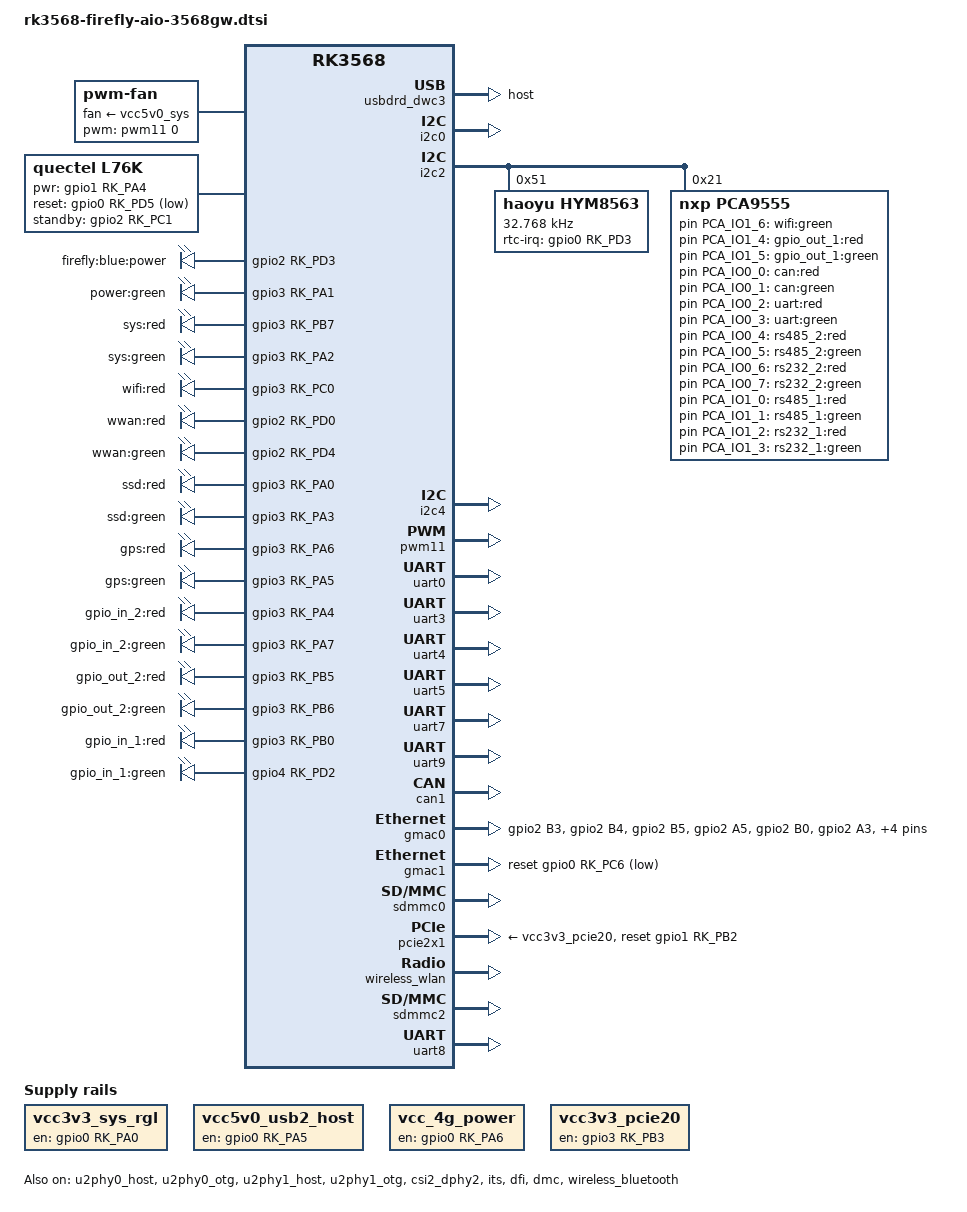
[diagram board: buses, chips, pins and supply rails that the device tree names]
// SPDX-License-Identifier: (GPL-2.0+ OR MIT)
/*
 * Copyright (c) 2020 Rockchip Electronics Co., Ltd.
 *
 */

#include "rk3568-firefly-port.dtsi"

/ {
	vcc3v3_sys_rgl: vcc3v3-sys-regulator {
		compatible = "regulator-fixed";
		enable-active-high;
		gpio = <&gpio0 RK_PA0 GPIO_ACTIVE_HIGH>;
		regulator-name = "vcc3v3_sys_rgl";
		regulator-always-on;
		pinctrl-names = "default";
		pinctrl-0 = <&vcc3v3_sys_rgl_en>;
	};

	vcc5v0_usb2_host: vcc5v0-usb2-host-regulator {
		compatible = "regulator-fixed";
		enable-active-high;
		gpio = <&gpio0 RK_PA5 GPIO_ACTIVE_HIGH>;
		regulator-name = "vcc5v0_usb2_host";
		regulator-always-on;
		pinctrl-names = "default";
		pinctrl-0 = <&vcc5v0_usb2_host_en>;
	};

	vcc_4g_power: vcc-4g-power-regulator {
		compatible = "regulator-fixed";
		enable-active-high;
		gpio = <&gpio0 RK_PA6 GPIO_ACTIVE_HIGH>;
		regulator-name = "vcc_4g_power";
		regulator-always-on;
		pinctrl-names = "default";
		pinctrl-0 = <&vcc_4g_power_en>;
	};

	// vcc5v0_ext: vcc5v0-ext-regulator {
	// 	compatible = "regulator-fixed";
	// 	enable-active-high;
	// 	gpio = <&gpio0 RK_PB5 GPIO_ACTIVE_HIGH>;
	// 	regulator-name = "vcc5v0_ext";
	// 	regulator-always-on;
	// 	pinctrl-names = "default";
	// 	pinctrl-0 = <&vcc5v0_ext_en>;
	// };

	vcc3v3_pcie20: vcc3v3-pcie20-regulator {
		compatible = "regulator-fixed";
		enable-active-high;
		gpio = <&gpio3 RK_PB3 GPIO_ACTIVE_HIGH>;
		regulator-name = "vcc3v3_pcie20";
		regulator-always-on;
		pinctrl-0 = <&vcc3v3_pcie20_en>;
	};

	fan: pwm-fan {
		compatible = "pwm-fan";
		#cooling-cells = <2>;
		fan-supply = <&vcc5v0_sys>;
		pwms = <&pwm11 0 50000 0>;
	};

	l76k: l76k {
		status = "okay";
		compatible = "quectel,l76k";
		pwr-gpio = <&gpio1 RK_PA4 GPIO_ACTIVE_HIGH>;  // GPS_PWR_EN
		reset-gpio = <&gpio0 RK_PD5 GPIO_ACTIVE_LOW>; // GPS_RESET
		standby-gpio = <&gpio2 RK_PC1 GPIO_ACTIVE_HIGH>; // GPS_STANDBY
	};

	firefly_leds: leds {
		status = "okay";
		compatible = "gpio-leds";

		power_led: power {
			label = "firefly:blue:power";
			linux,default-trigger = "ir-power-click";
			default-state = "on";
			gpios = <&gpio2 RK_PD3 GPIO_ACTIVE_HIGH>;
			pinctrl-names = "default";
			pinctrl-0 = <&led1_r_en>;
		};

		// POWER
		// LED1_R {
		// 	default-state = "off";
		// 	gpios = <&gpio2 RK_PD3 GPIO_ACTIVE_HIGH>;
		// 	pinctrl-names = "default";
		// 	pinctrl-0 = <&led1_r_en>;
		// 	label = "power:red";
		// };

		LED1_G {
			default-state = "off";
			gpios = <&gpio3 RK_PA1 GPIO_ACTIVE_HIGH>;
			pinctrl-names = "default";
			pinctrl-0 = <&led1_g_en>;
			label = "power:green";
		};

		// SYS
		LED2_R {
			default-state = "off";
			gpios = <&gpio3 RK_PB7 GPIO_ACTIVE_HIGH>;
			pinctrl-names = "default";
			pinctrl-0 = <&led2_r_en>;
			label = "sys:red";
		};

		LED2_G {
			default-state = "off";
			gpios = <&gpio3 RK_PA2 GPIO_ACTIVE_HIGH>;
			pinctrl-names = "default";
			pinctrl-0 = <&led2_g_en>;
			label = "sys:green";
		};

		// WIFI
		LED3_R {
			default-state = "off";
			gpios = <&gpio3 RK_PC0 GPIO_ACTIVE_HIGH>;
			pinctrl-names = "default";
			pinctrl-0 = <&led3_r_en>;
			linux,default-trigger = "netdev";
			label = "wifi:red";
		};

		LED3_G {
			default-state = "off";
			gpios = <&pca9555 PCA_IO1_6 GPIO_ACTIVE_HIGH>;
			linux,default-trigger = "netdev";
			label = "wifi:green";
		};

		// 4G/5G
		LED4_R {
			default-state = "off";
			gpios = <&gpio2 RK_PD0 GPIO_ACTIVE_HIGH>;
			pinctrl-names = "default";
			pinctrl-0 = <&led4_r_en>;
			linux,default-trigger = "netdev";
			label = "wwan:red";
		};

		LED4_G {
			default-state = "off";
			gpios = <&gpio2 RK_PD4 GPIO_ACTIVE_HIGH>;
			pinctrl-names = "default";
			pinctrl-0 = <&led4_g_en>;
			linux,default-trigger = "netdev";
			label = "wwan:green";
		};

		// SSD
		LED5_R {
			default-state = "off";
			gpios = <&gpio3 RK_PA0 GPIO_ACTIVE_HIGH>;
			pinctrl-names = "default";
			pinctrl-0 = <&led5_r_en>;
			// linux,default-trigger = "tty";
			label = "ssd:red";
		};

		LED5_G {
			default-state = "off";
			gpios = <&gpio3 RK_PA3 GPIO_ACTIVE_HIGH>;
			pinctrl-names = "default";
			pinctrl-0 = <&led5_g_en>;
			// linux,default-trigger = "tty";
			label = "ssd:green";
		};

		// GPS
		LED6_R {
			default-state = "off";
			gpios = <&gpio3 RK_PA6 GPIO_ACTIVE_HIGH>;
			pinctrl-names = "default";
			pinctrl-0 = <&led6_r_en>;
			// linux,default-trigger = "netdev";
			label = "gps:red";
		};

		LED6_G {
			default-state = "off";
			gpios = <&gpio3 RK_PA5 GPIO_ACTIVE_HIGH>;
			pinctrl-names = "default";
			pinctrl-0 = <&led6_g_en>;
			// linux,default-trigger = "netdev";
			label = "gps:green";
		};

		// DIN2
		LED7_R {
			default-state = "off";
			gpios = <&gpio3 RK_PA4 GPIO_ACTIVE_HIGH>;
			pinctrl-names = "default";
			pinctrl-0 = <&led7_r_en>;
			linux,default-trigger = "gpio";
			label = "gpio_in_2:red";
		};

		LED7_G {
			default-state = "off";
			gpios = <&gpio3 RK_PA7 GPIO_ACTIVE_HIGH>;
			pinctrl-names = "default";
			pinctrl-0 = <&led7_g_en>;
			linux,default-trigger = "gpio";
			label = "gpio_in_2:green";
		};

		// DOUT2
		LED8_R {
			default-state = "off";
			gpios = <&gpio3 RK_PB5 GPIO_ACTIVE_HIGH>;
			pinctrl-names = "default";
			pinctrl-0 = <&led8_r_en>;
			linux,default-trigger = "gpio";
			label = "gpio_out_2:red";
		};

		LED8_G {
			default-state = "off";
			gpios = <&gpio3 RK_PB6 GPIO_ACTIVE_HIGH>;
			pinctrl-names = "default";
			pinctrl-0 = <&led8_g_en>;
			linux,default-trigger = "gpio";
			label = "gpio_out_2:green";
		};

		// DIN1
		LED9_R {
			default-state = "off";
			gpios = <&gpio3 RK_PB0 GPIO_ACTIVE_HIGH>;
			pinctrl-names = "default";
			pinctrl-0 = <&led9_r_en>;
			linux,default-trigger = "gpio";
			label = "gpio_in_1:red";
		};

		LED9_G {
			default-state = "off";
			gpios = <&gpio4 RK_PD2 GPIO_ACTIVE_HIGH>;
			pinctrl-names = "default";
			pinctrl-0 = <&led9_g_en>;
			linux,default-trigger = "gpio";
			label = "gpio_in_1:green";
		};

		// DOUT1
		LED10_R {
			default-state = "off";
			gpios = <&pca9555 PCA_IO1_4 GPIO_ACTIVE_HIGH>;
			linux,default-trigger = "gpio";
			label = "gpio_out_1:red";
		};

		LED10_G {
			default-state = "off";
			gpios = <&pca9555 PCA_IO1_5 GPIO_ACTIVE_HIGH>;
			linux,default-trigger = "gpio";
			label = "gpio_out_1:green";
		};

		// CAN
		LED11_R {
			default-state = "off";
			gpios = <&pca9555 PCA_IO0_0 GPIO_ACTIVE_HIGH>;
			linux,default-trigger = "netdev";
			label = "can:red";
		};

		LED11_G {
			default-state = "off";
			gpios = <&pca9555 PCA_IO0_1 GPIO_ACTIVE_HIGH>;
			linux,default-trigger = "netdev";
			label = "can:green";
		};

		// UART
		LED12_R {
			default-state = "off";
			gpios = <&pca9555 PCA_IO0_2 GPIO_ACTIVE_HIGH>;
			linux,default-trigger = "tty";
			label = "uart:red";
		};

		LED12_G {
			default-state = "off";
			gpios = <&pca9555 PCA_IO0_3 GPIO_ACTIVE_HIGH>;
			linux,default-trigger = "tty";
			label = "uart:green";
		};

		// RS485_2
		LED13_R {
			default-state = "off";
			gpios = <&pca9555 PCA_IO0_4 GPIO_ACTIVE_HIGH>;
			linux,default-trigger = "tty";
			label = "rs485_2:red";
		};

		LED13_G {
			default-state = "off";
			gpios = <&pca9555 PCA_IO0_5 GPIO_ACTIVE_HIGH>;
			linux,default-trigger = "tty";
			label = "rs485_2:green";
		};

		// RS232_2
		LED14_R {
			default-state = "off";
			gpios = <&pca9555 PCA_IO0_6 GPIO_ACTIVE_HIGH>;
			linux,default-trigger = "tty";
			label = "rs232_2:red";
		};

		LED14_G {
			default-state = "off";
			gpios = <&pca9555 PCA_IO0_7 GPIO_ACTIVE_HIGH>;
			linux,default-trigger = "tty";
			label = "rs232_2:green";
		};

		// RS485_1
		LED15_R {
			default-state = "off";
			gpios = <&pca9555 PCA_IO1_0 GPIO_ACTIVE_HIGH>;
			linux,default-trigger = "tty";
			label = "rs485_1:red";
		};

		LED15_G {
			default-state = "off";
			gpios = <&pca9555 PCA_IO1_1 GPIO_ACTIVE_HIGH>;
			linux,default-trigger = "tty";
			label = "rs485_1:green";
		};

		// RS232_1
		LED16_R {
			default-state = "off";
			gpios = <&pca9555 PCA_IO1_2 GPIO_ACTIVE_HIGH>;
			linux,default-trigger = "tty";
			label = "rs232_1:red";
		};

		LED16_G {
			default-state = "off";
			gpios = <&pca9555 PCA_IO1_3 GPIO_ACTIVE_HIGH>;
			linux,default-trigger = "tty";
			label = "rs232_1:green";
		};
	};
};

&vcc5v0_host {
	status = "disabled";
};

&vcc5v0_otg {
	gpio = <&gpio0 RK_PB6 GPIO_ACTIVE_HIGH>;
	status = "okay";
};

&vcc5v0_otg_en {
	rockchip,pins = <0 RK_PB6 RK_FUNC_GPIO &pcfg_pull_none>;
};

&u2phy0_host {
	phy-supply = <&vcc_4g_power>;
	status = "okay";
};

&u2phy0_otg {
	vbus-supply = <&vcc5v0_otg>;
	status = "okay";
};

&u2phy1_host {
	phy-supply = <&vcc5v0_usb2_host>;
	status = "okay";
};

&u2phy1_otg {
	phy-supply = <&vcc5v0_usb2_host>;
	status = "okay";
};

&usb_host1_ehci {
	status = "disabled";
};

&usb_host1_ohci {
	status = "disabled";
};

&usbdrd_dwc3 {
	dr_mode = "host";
};

&csi2_dphy0 {
	status = "disabled";
};

&csi2_dphy1 {
	status = "disabled";
	/*
	* dphy1 only used for split mode,
	* can be used  concurrently  with dphy2
	* full mode and split mode are mutually exclusive
	*/
};

&csi2_dphy2 {
	status = "okay";
	/*
	* dphy2 only used for split mode,
	* can be used  concurrently  with dphy1
	* full mode and split mode are mutually exclusive
	*/
};

&rkisp_vir0 {
	status = "disabled";
};

&rkisp_vir1 {
	status = "disabled";
};

&i2c0 {
	status = "okay";
};

&i2c1 {
	status = "disabled";
	/delete-node/ gpio@21;
};

&i2c2 {
	status = "okay";
	pinctrl-names = "default";
	pinctrl-0 = <&i2c2m1_xfer>;

	hym8563: hym8563@51 {
		status = "okay";
		compatible = "haoyu,hym8563";
		reg = <0x51>;
		#clock-cells = <0>;
		rtc-irq-gpio = <&gpio0 RK_PD3 IRQ_TYPE_EDGE_FALLING>;
		clock-frequency = <32768>;
		clock-output-names = "xin32k";
		wakeup-source;
	};

	pca9555: gpio@21 {
		status = "okay";
		compatible = "nxp,pca9555";
		reg = <0x21>;
		gpio-controller;
		#gpio-cells = <2>;
		gpio-group-num = <200>;
	};
};

&i2c4 {
	status = "okay";
	pinctrl-names = "default";
	pinctrl-0 = <&i2c4m0_xfer>;
};

&i2c5 {
	status = "disabled";
	/delete-node/ hym8563@51;
	/delete-node/ mxc6655xa@15;
};

&vcc_camera {
	status = "disabled";
};

&pwm4 {
	status = "disabled";
};

&pwm5 {
	status = "disabled";
};

&pwm11 {
	pinctrl-names = "active";
	pinctrl-0 = <&pwm11m1_pins>;
	status = "okay";
};

&pwm14 {
	status = "disabled";
};

&mc3230 {
    status = "disabled";
};

&uart0 { // rs232_1
	status = "okay";
};

&uart3 { // rs232_2
	pinctrl-names = "default";
	pinctrl-0 = <&uart3m0_xfer>;
	status = "okay";
};

&uart4 { // rs485_1
	pinctrl-names = "default";
	pinctrl-0 = <&uart4m1_xfer>;
    rs485-de-gpios = <&gpio3 RK_PC1 GPIO_ACTIVE_LOW>;
    linux,rs485-enabled-at-boot-time;
    status = "okay";
};

&uart5 { // rs485_2
	pinctrl-names = "default";
	pinctrl-0 = <&uart5m1_xfer>;
    rs485-de-gpios = <&gpio2 RK_PD6 GPIO_ACTIVE_LOW>;
    linux,rs485-enabled-at-boot-time;
	status = "okay";
};

&uart7 { // gps
	pinctrl-names = "default";
	pinctrl-0 = <&uart7m1_xfer>;
	status = "okay";
};

&uart9 {
	pinctrl-names = "default";
	pinctrl-0 = <&uart9m1_xfer>;
	status = "okay";
};

&spi0 {
	status = "disabled";
};

&spi1 {
	status = "disabled";
};

&spi_wk2xxx {
	status = "disabled";
};

&pcie30_3v3 {
	status = "disabled";
};

&pcie30phy {
	status = "disabled";
};

&pcie3x2 {
	status = "disabled";
};

&its {
    status = "okay";
};

&can1 {
	compatible = "rockchip,rk3568-can-2.0";
	pinctrl-names = "default";
	pinctrl-0 = <&can1m1_pins>;
	status = "okay";
};

/delete-node/ &vcc3v3_vga;

&gmac0 {
	status = "okay";
	tx_delay = <0x41>;
	rx_delay = <0x31>;
	snps,reset-gpio = <&gpio0 RK_PB7 GPIO_ACTIVE_LOW>;

	clock_in_out = "output";
	assigned-clocks = <&cru SCLK_GMAC0_RX_TX>, <&cru SCLK_GMAC0>;
	assigned-clock-rates = <0>, <125000000>;
	assigned-clock-parents = <&cru SCLK_GMAC0_RGMII_SPEED>;

	pinctrl-names = "default";
	pinctrl-0 = <&gmac0_miim
		     &gmac0_tx_bus2
		     &gmac0_rx_bus2
		     &gmac0_rgmii_clk
		     &gmac0_rgmii_bus>;
};

&gmac1 {
	status = "okay";
	tx_delay = <0x4d>;
	rx_delay = <0x2c>;
	snps,reset-gpio = <&gpio0 RK_PC6 GPIO_ACTIVE_LOW>;

	clock_in_out = "output";
	assigned-clocks = <&cru SCLK_GMAC1_RX_TX>, <&cru SCLK_GMAC1>;
	assigned-clock-rates = <0>, <125000000>;
	assigned-clock-parents = <&cru SCLK_GMAC1_RGMII_SPEED>;

	pinctrl-names = "default";
	pinctrl-0 = <&gmac1m1_miim
		     &gmac1m1_tx_bus2
		     &gmac1m1_rx_bus2
		     &gmac1m1_rgmii_clk
		     &gmac1m1_rgmii_bus>;
};

&rgmii_phy0 {
	led_status_value = <0x6940>;
};

&rgmii_phy1 {
	led_status_value = <0x6940>;
};

&sdmmc0 {
	status = "okay";
};

&spdif_8ch {
	status = "disabled";
};

&spdif_out {
	status = "disabled";
};

&rk809_sound {
	status = "disabled";
};

&rk809_codec {
	status = "disabled";
};

&rk809 {
    rtc {
        status = "disabled";
    };
};

&pwm7 {
	status = "disabled";
};

&sata2 {
	status = "disabled";
	/delete-property/ pinctrl-0;
};

&pcie2x1 {
	reset-gpios = <&gpio1 RK_PB2 GPIO_ACTIVE_HIGH>;
	vpcie3v3-supply = <&vcc3v3_pcie20>;
	status = "okay";
};

&dfi {
	status = "okay";
};

&dmc {
	status = "okay";
};

&fiq_debugger {
	rockchip,baudrate = <115200>;
};

/* ap6256 start */
&wireless_wlan {
	wifi_chip_type = "ap6275s";
	pinctrl-0 = <&wifi_host_wake_irq>;
	WIFI,host_wake_irq = <&gpio0 RK_PB4 GPIO_ACTIVE_HIGH>;
	status = "okay";
};

&wifi_host_wake_irq {
	rockchip,pins = <0 RK_PB4 RK_FUNC_GPIO &pcfg_pull_down>;
};

&wireless_bluetooth {
	BT,reset_gpio    = <&gpio4 RK_PB3 GPIO_ACTIVE_HIGH>;
	BT,wake_gpio     = <&gpio4 RK_PB2 GPIO_ACTIVE_HIGH>;
	BT,wake_host_irq = <&gpio3 RK_PD2 GPIO_ACTIVE_HIGH>;
	status = "okay";
};

&sdmmc2 {
	status = "okay";
};

&sdio_pwrseq {
	reset-gpios = <&gpio0 RK_PB3 GPIO_ACTIVE_LOW>;
};

&wifi_enable_h {
	rockchip,pins = <0 RK_PB3 RK_FUNC_GPIO &pcfg_pull_none>;
};

&uart8 {
	status = "okay";
};
/* ap6256 finish */

&pinctrl {
	/delete-node/ mxc6655xa;
	power {
		vcc3v3_sys_rgl_en: vcc3v3-sys-rgl-en {
			rockchip,pins = <0 RK_PA0 RK_FUNC_GPIO &pcfg_pull_up>;
		};
	};

	usb2 {
		vcc5v0_usb2_host_en: vcc5v0-usb2-host-en {
			rockchip,pins = <0 RK_PA5 RK_FUNC_GPIO &pcfg_pull_none>;
		};
	};

	vcc_4g {
		vcc_4g_power_en: vcc-4g-power-en {
			rockchip,pins = <0 RK_PA6 RK_FUNC_GPIO &pcfg_pull_none>;
		};
	};

	ext {
		vcc5v0_ext_en: vcc5v0-ext-en {
			rockchip,pins = <0 RK_PB5 RK_FUNC_GPIO &pcfg_pull_up>;
		};
	};

	pcie {
		vcc3v3_pcie20_en: vcc3v3-pcie20-en {
			rockchip,pins = <3 RK_PB3 RK_FUNC_GPIO &pcfg_pull_up>;
		};
	};

	gmac0 {
		/omit-if-no-ref/
		gmac0_tx_bus2: gmac0-tx-bus2 {
			rockchip,pins =
				/* gmac0_txd0 */
				<2 RK_PB3 1 &pcfg_pull_none_drv_level_5>,
				/* gmac0_txd1 */
				<2 RK_PB4 1 &pcfg_pull_none_drv_level_5>,
				/* gmac0_txen */
				<2 RK_PB5 1 &pcfg_pull_none>;
		};

		/omit-if-no-ref/
		gmac0_rgmii_clk: gmac0-rgmii-clk {
			rockchip,pins =
				/* gmac0_rxclk */
				<2 RK_PA5 2 &pcfg_pull_none>,
				/* gmac0_txclk */
				<2 RK_PB0 2 &pcfg_pull_none_drv_level_5>;
		};

		/omit-if-no-ref/
		gmac0_rgmii_bus: gmac0-rgmii-bus {
			rockchip,pins =
				/* gmac0_rxd2 */
				<2 RK_PA3 2 &pcfg_pull_none>,
				/* gmac0_rxd3 */
				<2 RK_PA4 2 &pcfg_pull_none>,
				/* gmac0_txd2 */
				<2 RK_PA6 2 &pcfg_pull_none_drv_level_5>,
				/* gmac0_txd3 */
				<2 RK_PA7 2 &pcfg_pull_none_drv_level_5>;
		};
	};

	leds {
		led1_r_en: led1-r-en {
			rockchip,pins = <2 RK_PD3 RK_FUNC_GPIO &pcfg_pull_none>;
		};

		led1_g_en: led1-g-en {
			rockchip,pins = <3 RK_PA1 RK_FUNC_GPIO &pcfg_pull_none>;
		};

		led2_r_en: led2-r-en {
			rockchip,pins = <3 RK_PB7 RK_FUNC_GPIO &pcfg_pull_none>;
		};

		led2_g_en: led2-g-en {
			rockchip,pins = <3 RK_PA2 RK_FUNC_GPIO &pcfg_pull_none>;
		};

		led3_r_en: led3-r-en {
			rockchip,pins = <3 RK_PC0 RK_FUNC_GPIO &pcfg_pull_none>;
		};

		led4_r_en: led4-r-en {
			rockchip,pins = <2 RK_PD0 RK_FUNC_GPIO &pcfg_pull_none>;
		};

		led4_g_en: led4-g-en {
			rockchip,pins = <2 RK_PD4 RK_FUNC_GPIO &pcfg_pull_none>;
		};

		led5_r_en: led5-r-en {
			rockchip,pins = <3 RK_PA0 RK_FUNC_GPIO &pcfg_pull_none>;
		};

		led5_g_en: led5-g-en {
			rockchip,pins = <3 RK_PA3 RK_FUNC_GPIO &pcfg_pull_none>;
		};

		led6_r_en: led6-r-en {
			rockchip,pins = <3 RK_PA6 RK_FUNC_GPIO &pcfg_pull_none>;
		};

		led6_g_en: led6-g-en {
			rockchip,pins = <3 RK_PA5 RK_FUNC_GPIO &pcfg_pull_none>;
		};

		led7_r_en: led7-r-en {
			rockchip,pins = <3 RK_PA4 RK_FUNC_GPIO &pcfg_pull_none>;
		};

		led7_g_en: led7-g-en {
			rockchip,pins = <3 RK_PA7 RK_FUNC_GPIO &pcfg_pull_none>;
		};

		led8_r_en: led8-r-en {
			rockchip,pins = <3 RK_PB5 RK_FUNC_GPIO &pcfg_pull_none>;
		};

		led8_g_en: led8-g-en {
			rockchip,pins = <3 RK_PB6 RK_FUNC_GPIO &pcfg_pull_none>;
		};

		led9_r_en: led9-r-en {
			rockchip,pins = <3 RK_PB0 RK_FUNC_GPIO &pcfg_pull_none>;
		};

		led9_g_en: led9-g-en {
			rockchip,pins = <4 RK_PD2 RK_FUNC_GPIO &pcfg_pull_none>;
		};
	};   
};
